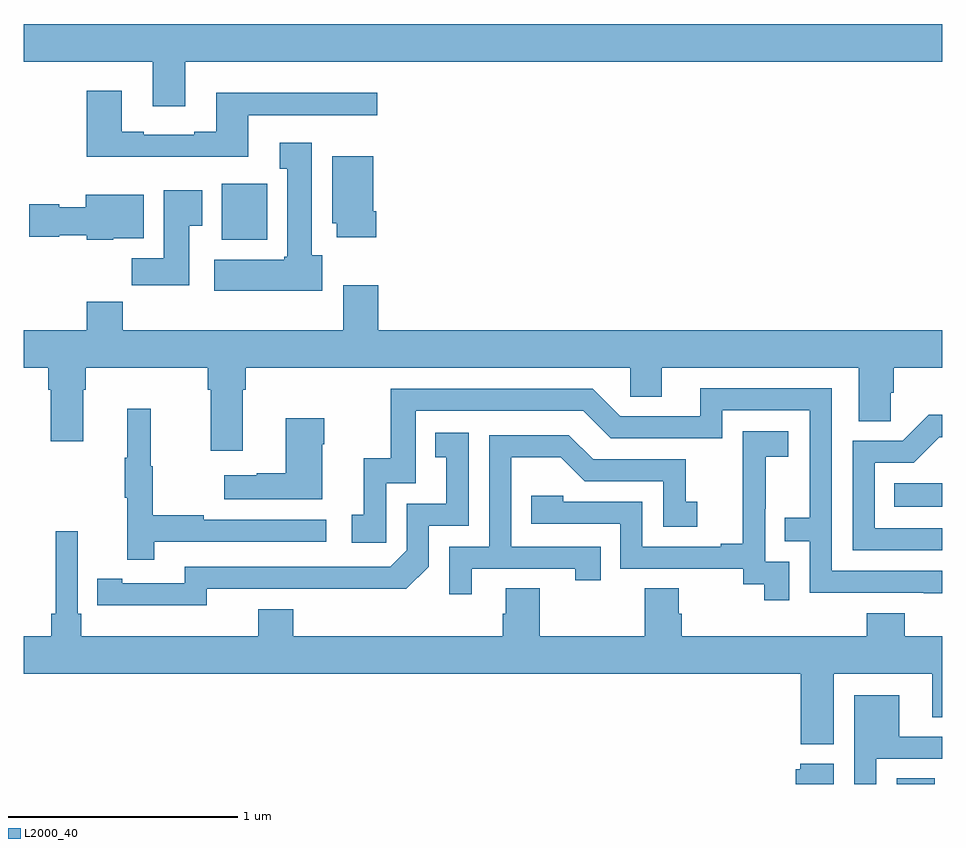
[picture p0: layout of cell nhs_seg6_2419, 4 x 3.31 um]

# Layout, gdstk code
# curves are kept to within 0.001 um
import gdstk
lib = gdstk.Library(unit=1e-6, precision=1e-09)
def R(c, l, rs):  # rectangles x0, y0, x1, y1
    for r in rs: c.add(gdstk.rectangle(r[:2], r[2:], *l))
def P(c, l, *ps):  # polygons
    for p in ps: c.add(gdstk.Polygon(p, *l))
L2000_40 = (2000, 40)

nhs_seg6_2419 = lib.new_cell('nhs_seg6_2419')
R(nhs_seg6_2419, L2000_40, [(258.8,969.5,258.967,969.524), (258.79,970.706,259,970.81), (255.863,971.87,256.06,972.112)])
P(nhs_seg6_2419, L2000_40, [(255.703,972.644),(259,972.644),(259,972.808),(255,972.808),(255,972.644),(255.563,972.644),(255.563,972.45),(255.703,972.45)],
  [(255.979,972.411),(256.54,972.411),(256.54,972.508),(255.839,972.508),(255.839,972.34),(255.743,972.34),(255.743,972.327),(255.523,972.327),(255.523,972.34),(255.427,972.34),(255.427,972.517),(255.275,972.517),(255.275,972.23),(255.979,972.23)],
  [(256.3,971.802),(256.255,971.802),(256.255,972.292),(256.115,972.292),(256.115,972.179),(256.148,972.179),(256.148,971.796),(256.135,971.796),(256.135,971.782),(255.831,971.782),(255.831,971.648),(256.3,971.648)],
  [(256.535,971.992),(256.522,971.992),(256.522,972.232),(256.343,972.232),(256.343,971.94),(256.364,971.94),(256.364,971.88),(256.535,971.88)],
  [(255.721,971.929),(255.778,971.929),(255.778,972.085),(255.611,972.085),(255.611,971.788),(255.472,971.788),(255.472,971.67),(255.721,971.67)],
  [(255.39,971.876),(255.523,971.876),(255.523,972.064),(255.272,972.064),(255.272,972.01),(255.156,972.01),(255.156,972.023),(255.024,972.023),(255.024,971.881),(255.156,971.881),(255.156,971.888),(255.276,971.888),(255.276,971.87),(255.39,971.87)],
  [(255.955,971.216),(255.968,971.216),(255.968,971.312),(257.64,971.312),(257.64,971.185),(257.779,971.185),(257.779,971.312),(258.635,971.312),(258.635,971.08),(258.774,971.08),(258.774,971.203),(258.788,971.203),(258.788,971.312),(259,971.312),(259,971.476),(256.544,971.476),(256.544,971.671),(256.391,971.671),(256.391,971.476),(255.431,971.476),(255.431,971.6),(255.275,971.6),(255.275,971.476),(255,971.476),(255,971.312),(255.107,971.312),(255.107,971.216),(255.119,971.216),(255.119,970.992),(255.259,970.992),(255.259,971.216),(255.272,971.216),(255.272,971.312),(255.803,971.312),(255.803,971.216),(255.815,971.216),(255.815,970.95),(255.955,970.95)],
  [(259,970.428),(258.519,970.428),(258.519,971.223),(257.945,971.223),(257.945,971.1),(257.598,971.1),(257.478,971.22),(256.599,971.22),(256.599,970.918),(256.481,970.918),(256.481,970.671),(256.428,970.671),(256.428,970.551),(256.578,970.551),(256.578,970.809),(256.707,970.809),(256.707,971.124),(257.436,971.124),(257.556,971.004),(258.042,971.004),(258.042,971.127),(258.423,971.127),(258.423,970.658),(258.313,970.658),(258.313,970.557),(258.423,970.557),(258.423,970.332),(259,970.331)],
  [(255.569,970.554),(256.318,970.554),(256.318,970.65),(255.785,970.65),(255.785,970.67),(255.562,970.67),(255.562,970.884),(255.554,970.884),(255.554,971.134),(255.452,971.134),(255.452,970.921),(255.441,970.921),(255.441,970.747),(255.452,970.747),(255.452,970.476),(255.569,970.476)],
  [(259,970.614),(258.705,970.614),(258.705,970.899),(258.874,970.899),(258.985,971.01),(259,971.01),(259,971.108),(258.941,971.108),(258.828,970.995),(258.609,970.995),(258.609,970.518),(259,970.518)],
  [(256.3,970.979),(256.308,970.979),(256.308,971.092),(256.142,971.092),(256.142,970.853),(256.016,970.853),(256.016,970.843),(255.873,970.843),(255.873,970.739),(256.3,970.739)],
  [(258.333,970.467),(258.228,970.467),(258.228,970.697),(258.23,970.697),(258.23,970.925),(258.328,970.925),(258.328,971.035),(258.13,971.035),(258.13,970.829),(258.131,970.829),(258.131,970.546),(258.035,970.546),(258.035,970.533),(257.694,970.533),(257.694,970.728),(257.349,970.728),(257.349,970.755),(257.209,970.755),(257.209,970.632),(257.598,970.632),(257.598,970.437),(258.132,970.437),(258.132,970.369),(258.225,970.369),(258.225,970.299),(258.333,970.299)],
  [(255.798,970.35),(256.666,970.349),(256.764,970.446),(256.764,970.623),(256.938,970.623),(256.938,971.029),(256.792,971.029),(256.792,970.923),(256.841,970.923),(256.841,970.719),(256.668,970.719),(256.668,970.518),(256.596,970.446),(255.702,970.446),(255.702,970.374),(255.43,970.374),(255.43,970.394),(255.322,970.394),(255.322,970.278),(255.798,970.277)],
  [(256.951,970.437),(257.402,970.437),(257.402,970.386),(257.513,970.386),(257.513,970.533),(257.124,970.533),(257.124,970.922),(257.338,970.922),(257.442,970.818),(257.784,970.818),(257.784,970.62),(257.932,970.62),(257.932,970.729),(257.883,970.729),(257.883,970.914),(257.479,970.914),(257.374,971.019),(257.028,971.019),(257.028,970.533),(256.854,970.533),(256.854,970.326),(256.951,970.326)],
  [(258.526,969.98),(258.956,969.98),(258.956,969.79),(259,969.79),(259,970.144),(258.836,970.144),(258.836,970.243),(258.671,970.243),(258.671,970.144),(257.864,970.144),(257.864,970.242),(257.851,970.242),(257.851,970.352),(257.704,970.352),(257.704,970.144),(257.247,970.144),(257.247,970.352),(257.099,970.352),(257.099,970.242),(257.087,970.242),(257.087,970.144),(256.175,970.144),(256.175,970.261),(256.022,970.261),(256.022,970.144),(255.251,970.144),(255.251,970.24),(255.237,970.24),(255.237,970.6),(255.14,970.6),(255.14,970.24),(255.121,970.24),(255.121,970.144),(255,970.144),(255,969.98),(258.383,969.98),(258.383,969.674),(258.526,969.674)],
  [(258.711,969.609),(259,969.609),(259,969.705),(258.811,969.705),(258.811,969.886),(258.615,969.886),(258.615,969.5),(258.711,969.5)],
  [(258.526,969.589),(258.381,969.589),(258.381,969.564),(258.362,969.564),(258.362,969.5),(258.526,969.5)])

lib.write_gds('nhs_seg6_2419.gds')
